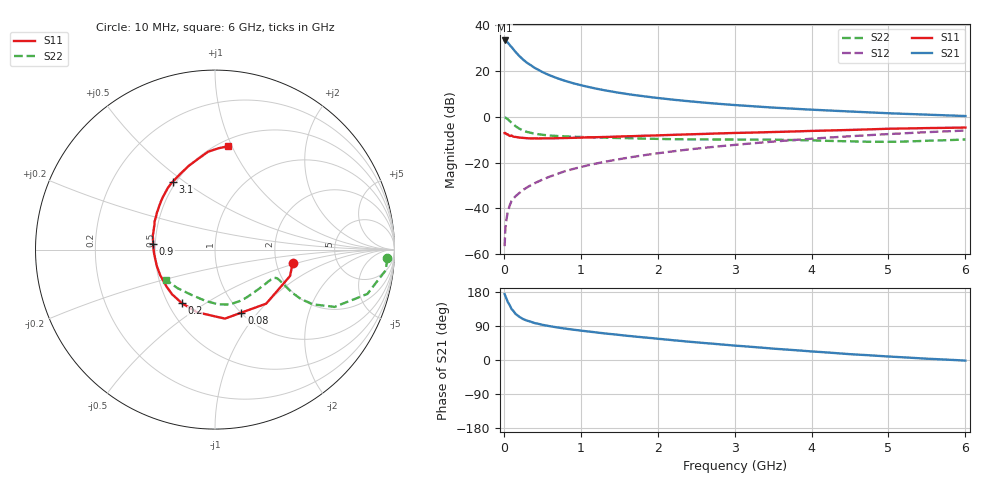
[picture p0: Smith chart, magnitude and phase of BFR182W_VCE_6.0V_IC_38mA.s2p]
! (c) 2017  Infineon Technologies AG, Munich
! Infineon Technologies  Discrete & RF Semiconductors
! BFR182W
! VCE =  6.0 V,  IC =  38 mA
! Common Emitter S-Parameters:  Jan 2017
# GHz  S  MA  R  50
!  f  S11  S21  S12  S22
! GHz  MAG  ANG  MAG  ANG  MAG  ANG  MAG  ANG
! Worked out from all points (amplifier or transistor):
!   77 points, 10 MHz to 6 GHz, reference 50 ohm
!   highest |S21| = 33.3 dB at 10 MHz (marker M1)
!   |S21| within 3 dB of that: start of sweep to 103.6 MHz
!   unconditionally stable (mu >= 1): 523.6 MHz to 2.181 GHz
!   at 130 MHz: K = 0.55, MSG = 32.3 dB, |S12| = -35.5 dB
!   at 2.2 GHz: K = 1.00, MSG = 11.3 dB, |S12| = -15.1 dB
!   at 6 GHz: K = 0.86, MSG = 3.2 dB, |S12| = -6.0 dB
!   S11 on the Smith chart (normalised r, x): 10 MHz: 2.47, -0.44; 80 MHz: 1.01, -0.83; 200 MHz: 0.59, -0.40; 900 MHz: 0.49, +0.04; 3.1 GHz: 0.48, +0.45; 6 GHz: 0.56, +0.97
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0.01  0.4392 -9.5  46.09 173.9  0.0015 86.4  0.9611 -2.9
0.02  0.4432 -19.4  45.92 168.7  0.0037 94.3  0.9583 -6.9
0.05  0.4148 -46.5  41.67 153.4  0.0082 75.5  0.8844 -16.2
0.08  0.3808 -67.2  36.08 143.1  0.012 70.3  0.7947 -21.4
0.1  0.3885 -81.8  33.18 134.5  0.0145 68.3  0.7393 -25.6
0.15  0.3631 -105.8  26.16 122.2  0.0183 65.3  0.6247 -29.2
0.2  0.3511 -121.8  21.16 114.1  0.0216 66.5  0.5502 -29.9
0.25  0.3452 -134.0  17.67 108.1  0.0253 66.4  0.5011 -29.3
0.3  0.3396 -142.8  15.05 103.9  0.0286 68.9  0.4661 -28.4
0.4  0.3369 -155.1  11.64 97.5  0.0354 70.1  0.426 -26.7
0.5  0.3369 -164.2  9.437 92.9  0.0423 72.1  0.4036 -25.7
0.6  0.337 -170.9  7.955 89.1  0.0496 72.7  0.3886 -25.0
0.7  0.3403 -176.5  6.861 85.8  0.0569 73.7  0.3791 -24.8
0.9  0.3463 174.4  5.384 80.1  0.0724 73.8  0.3659 -25.6
1.1  0.3554 167.2  4.456 75.2  0.0877 74.2  0.358 -27.3
1.3  0.361 160.5  3.801 70.5  0.1029 73.7  0.3502 -29.5
1.5  0.3709 155.3  3.326 66.2  0.1184 73.0  0.343 -32.3
2.1  0.3968 140.9  2.456 54.2  0.1675 69.7  0.3259 -43.5
3.1  0.4457 121.7  1.752 36.6  0.2513 62.1  0.3169 -66.3
4.1  0.4945 105.7  1.399 21.3  0.3398 53.0  0.3017 -89.0
5.1  0.55 92.8  1.174 8.1  0.4265 42.8  0.2852 -120.6
6  0.5808 82.7  1.035 -1.6  0.4995 33.1  0.3197 -148.0
